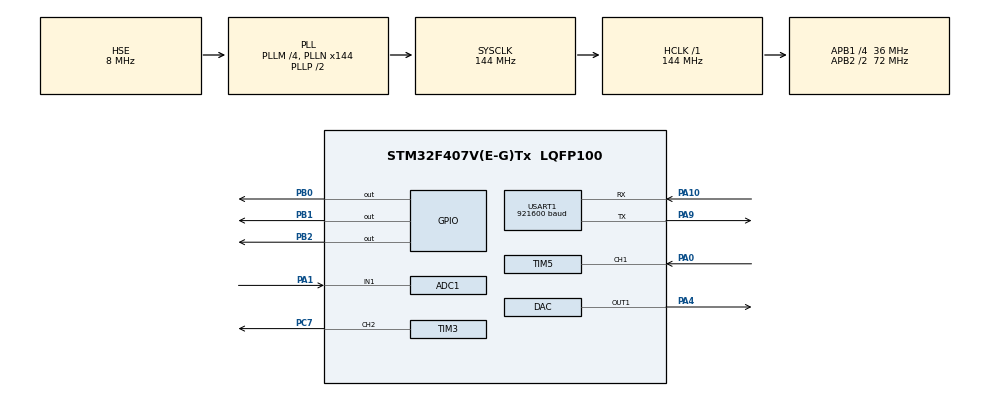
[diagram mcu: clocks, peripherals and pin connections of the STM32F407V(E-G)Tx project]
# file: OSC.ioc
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ADC1.Channel-0\#ChannelRegularConversion=ADC_CHANNEL_1
ADC1.ClockPrescaler=ADC_CLOCK_SYNC_PCLK_DIV2
ADC1.ContinuousConvMode=DISABLE
ADC1.DMAContinuousRequests=ENABLE
ADC1.EOCSelection=ADC_EOC_SINGLE_CONV
ADC1.ExternalTrigConv=ADC_EXTERNALTRIGCONV_T8_TRGO
ADC1.Mode=__NULL
ADC1.NbrOfConversion=1
ADC1.NbrOfConversionFlag=1
ADC1.Rank-0\#ChannelRegularConversion=1
ADC1.Resolution=ADC_RESOLUTION_12B
ADC1.SamplingTime-0\#ChannelRegularConversion=ADC_SAMPLETIME_3CYCLES
ADC1.ScanConvMode=DISABLE
ADC1.master=1
ADC2.Channel-3\#ChannelRegularConversion=ADC_CHANNEL_1
ADC2.EOCSelection=ADC_EOC_SINGLE_CONV
ADC2.NbrOfConversionFlag=1
ADC2.Rank-3\#ChannelRegularConversion=1
ADC2.Resolution=ADC_RESOLUTION_12B
ADC2.SamplingTime-3\#ChannelRegularConversion=ADC_SAMPLETIME_3CYCLES
ADC3.Channel-2\#ChannelRegularConversion=ADC_CHANNEL_1
ADC3.DMAAccessMode=ADC_DMAACCESSMODE_2
ADC3.EOCSelection=ADC_EOC_SINGLE_CONV
ADC3.NbrOfConversionFlag=1
ADC3.Rank-2\#ChannelRegularConversion=1
ADC3.Resolution=ADC_RESOLUTION_12B
ADC3.SamplingTime-2\#ChannelRegularConversion=ADC_SAMPLETIME_3CYCLES
DAC.DAC_Trigger=DAC_TRIGGER_T2_TRGO
Dma.ADC1.0.Direction=DMA_PERIPH_TO_MEMORY
Dma.ADC1.0.FIFOMode=DMA_FIFOMODE_DISABLE
Dma.ADC1.0.Instance=DMA2_Stream0
Dma.ADC1.0.MemDataAlignment=DMA_MDATAALIGN_WORD
Dma.ADC1.0.MemInc=DMA_MINC_ENABLE
Dma.ADC1.0.Mode=DMA_NORMAL
Dma.ADC1.0.PeriphDataAlignment=DMA_PDATAALIGN_WORD
Dma.ADC1.0.PeriphInc=DMA_PINC_DISABLE
Dma.ADC1.0.Priority=DMA_PRIORITY_LOW
Dma.DAC1.2.Direction=DMA_MEMORY_TO_PERIPH
Dma.DAC1.2.FIFOMode=DMA_FIFOMODE_DISABLE
Dma.DAC1.2.Instance=DMA1_Stream5
Dma.DAC1.2.MemDataAlignment=DMA_MDATAALIGN_HALFWORD
Dma.DAC1.2.MemInc=DMA_MINC_ENABLE
Dma.DAC1.2.Mode=DMA_CIRCULAR
Dma.DAC1.2.PeriphDataAlignment=DMA_PDATAALIGN_HALFWORD
Dma.DAC1.2.PeriphInc=DMA_PINC_DISABLE
Dma.DAC1.2.Priority=DMA_PRIORITY_MEDIUM
Dma.Request0=ADC1
Dma.Request1=USART1_RX
Dma.Request2=DAC1
Dma.USART1_RX.1.Direction=DMA_PERIPH_TO_MEMORY
Dma.USART1_RX.1.FIFOMode=DMA_FIFOMODE_DISABLE
Dma.USART1_RX.1.Instance=DMA2_Stream2
Dma.USART1_RX.1.MemDataAlignment=DMA_MDATAALIGN_BYTE
Dma.USART1_RX.1.MemInc=DMA_MINC_ENABLE
Dma.USART1_RX.1.Mode=DMA_NORMAL
Dma.USART1_RX.1.PeriphDataAlignment=DMA_PDATAALIGN_BYTE
Dma.USART1_RX.1.PeriphInc=DMA_PINC_DISABLE
Dma.USART1_RX.1.Priority=DMA_PRIORITY_LOW
Mcu.Family=STM32F4
Mcu.Name=STM32F407V(E-G)Tx
Mcu.Package=LQFP100
NVIC.DMA1_Stream5_IRQn=true\:0\:0\:false\:false\:true\:false\:true\:true
NVIC.DMA2_Stream0_IRQn=true\:0\:0\:false\:false\:true\:false\:true\:true
NVIC.DMA2_Stream2_IRQn=true\:0\:0\:false\:false\:true\:false\:true\:true
NVIC.PriorityGroup=NVIC_PRIORITYGROUP_4
NVIC.TIM5_IRQn=true\:0\:0\:false\:false\:true\:true\:true\:true
NVIC.USART1_IRQn=true\:0\:0\:false\:false\:true\:true\:true\:true
PA0-WKUP.Signal=S_TIM5_CH1
PA1.Signal=ADCx_IN1
PA10.Mode=Asynchronous
PA10.Signal=USART1_RX
PA13.Mode=Serial_Wire
PA13.Signal=SYS_JTMS-SWDIO
PA14.Mode=Serial_Wire
PA14.Signal=SYS_JTCK-SWCLK
PA4.Signal=COMP_DAC1_group
PA9.Mode=Asynchronous
PA9.Signal=USART1_TX
PB0.GPIO_PuPd=GPIO_PULLUP
PB0.Signal=GPIO_Output
PB1.GPIO_PuPd=GPIO_PULLUP
PB1.PinState=GPIO_PIN_RESET
PB1.Signal=GPIO_Output
PB2.GPIO_PuPd=GPIO_PULLUP
PB2.Signal=GPIO_Output
PC7.Signal=S_TIM3_CH2
PH0-OSC_IN.Mode=HSE-External-Oscillator
PH0-OSC_IN.Signal=RCC_OSC_IN
PH1-OSC_OUT.Mode=HSE-External-Oscillator
PH1-OSC_OUT.Signal=RCC_OSC_OUT
ProjectManager.HeapSize=0x1000
ProjectManager.StackSize=0x2000
ProjectManager.TargetToolchain=MDK-ARM V5.32
RCC.48MHZClocksFreq_Value=72000000
RCC.AHBFreq_Value=144000000
RCC.APB1CLKDivider=RCC_HCLK_DIV4
RCC.APB1Freq_Value=36000000
RCC.APB1TimFreq_Value=72000000
RCC.APB2CLKDivider=RCC_HCLK_DIV2
RCC.APB2Freq_Value=72000000
RCC.APB2TimFreq_Value=144000000
RCC.CortexFreq_Value=144000000
RCC.HCLKFreq_Value=144000000
RCC.HSE_VALUE=8000000
RCC.HSI_VALUE=16000000
RCC.LSE_VALUE=32768
RCC.PLLM=4
RCC.PLLN=144
RCC.PLLSourceVirtual=RCC_PLLSOURCE_HSE
RCC.SYSCLKFreq_VALUE=144000000
RCC.SYSCLKSource=RCC_SYSCLKSOURCE_PLLCLK
RCC.VCOOutputFreq_Value=288000000
SH.ADCx_IN1.0=ADC1_IN1,IN1
SH.ADCx_IN1.1=ADC2_IN1,IN1
SH.ADCx_IN1.2=ADC3_IN1,IN1
SH.COMP_DAC1_group.0=DAC_OUT1,DAC_OUT1
SH.S_TIM3_CH2.0=TIM3_CH2,PWM Generation2 CH2
SH.S_TIM5_CH1.0=TIM5_CH1,Input_Capture1_from_TI1
SH.S_TIM5_CH1.1=TIM5_CH1,TriggerSource_TI1FP1
STMicroelectronics.X-CUBE-ALGOBUILD.1.4.0.LibraryCcDSPOoLibraryJjDSPOoLibrary=true
TIM2.AutoReloadPreload=TIM_AUTORELOAD_PRELOAD_ENABLE
TIM2.Period=100-1
TIM2.Prescaler=1-1
TIM2.TIM_MasterOutputTrigger=TIM_TRGO_UPDATE
TIM3.AutoReloadPreload=TIM_AUTORELOAD_PRELOAD_ENABLE
TIM3.Channel-PWM\ Generation2\ CH2=TIM_CHANNEL_2
TIM3.Period=100-1
TIM3.Prescaler=72-1
TIM3.Pulse-PWM\ Generation2\ CH2=50
TIM5.Channel-Input_Capture1_from_TI1=TIM_CHANNEL_1
TIM5.Channel-Input_Capture2_from_TI1_63=TIM_CHANNEL_2
TIM5.ICPolarity_CH2=TIM_INPUTCHANNELPOLARITY_FALLING
TIM5.Prescaler=36-1
TIM8.AutoReloadPreload=TIM_AUTORELOAD_PRELOAD_ENABLE
TIM8.Period=10-1
TIM8.Prescaler=72-1
TIM8.TIM_MasterOutputTrigger=TIM_TRGO_UPDATE
USART1.BaudRate=921600
USART1.VirtualMode=VM_ASYNC
VP_STMicroelectronics.X-CUBE-ALGOBUILD_VS_DSPOoLibraryJjLibrary_1.4.0_1.4.0.Mode=DSPOoLibraryJjLibrary
VP_TIM2_VS_ClockSourceINT.Mode=Internal
VP_TIM5_VS_ClockSourceINT.Mode=Internal
VP_TIM5_VS_ControllerModeReset.Mode=Reset Mode
VP_TIM5_VS_indirect_ch1.Mode=Input_Capture2_from_TI1_63
VP_TIM8_VS_ClockSourceINT.Mode=Internal
board=custom

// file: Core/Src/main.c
/* USER CODE BEGIN Header */
/**
 ******************************************************************************
 * @file           : main.c
 * @brief          : Main program body
 ******************************************************************************
 * @attention
 *
 * Copyright (c) 2025 STMicroelectronics.
 * All rights reserved.
 *
 * This software is licensed under terms that can be found in the LICENSE file
 * in the root directory of this software component.
 * If no LICENSE file comes with this software, it is provided AS-IS.
 *
 ******************************************************************************
 */
/* USER CODE END Header */
#include "main.h"
#include "adc.h"
#include "dac.h"
#include "dma.h"
#include "tim.h"
#include "usart.h"
#include "gpio.h"

/* USER CODE BEGIN Includes */
#include <stdio.h>

#include "ADC_DMA.h"
#include "message_UART.h"
#include "HMI.h"
#include "OSC_Trigger.h"
#include "Config.h"
#include "Fre_Measure.h"
#include "FFT.h"
#include "DAC_DMA.h"

/* USER CODE END Includes */

/* USER CODE BEGIN PV */
uint32_t *adc_value_buffer_u32;
uint32_t adc_value_u32[ADC_NUMBER];
static uint32_t adc_value_u32_HasFilter[ADC_NUMBER];
static uint32_t adc_value_u32_HasScale[ADC_NUMBER];

/* USER CODE END PV */

void SystemClock_Config(void);
/* USER CODE BEGIN PFP */
int fputc(int ch, FILE *f)
{
  HAL_UART_Transmit(&huart1, (uint8_t *)&ch, 1, 1000);
  return ch;
}

/* USER CODE END PFP */

int main(void)
{

  /* MCU Configuration--------------------------------------------------------*/

  /* Reset of all peripherals, Initializes the Flash interface and the Systick. */
  HAL_Init();

  /* Configure the system clock */
  SystemClock_Config();

  /* Initialize all configured peripherals */
  MX_GPIO_Init();
  MX_DMA_Init();
  MX_ADC1_Init();
  MX_TIM2_Init();
  MX_USART1_UART_Init();
  MX_TIM3_Init();
  MX_ADC2_Init();
  MX_ADC3_Init();
  MX_TIM5_Init();
  MX_DAC_Init();
  MX_TIM8_Init();
  /* USER CODE BEGIN 2 */
  uint8_t RxBuffer[16];             // 定义接收缓冲区
  uint16_t count_1 = 0;             // 用于计数
  message_init();                   // 初始化串口
  Fre_Measure_Init();               // 初始化频率测量
  ConfigAndData_Init();             // 初始化配置和数据
  ADC_DMA_Start(OSC_Config.OSC_Fs); // 启动ADC
  ADC_Change_Fs();                  // 改变ADC采样频率
  FFT_Init();                       // 初始化FFT
  DAC_DMA_Init();                   // 初始化DAC

  /* USER CODE END 2 */

  /* Infinite loop */
  /* USER CODE BEGIN WHILE */
  while (1)
  {
    if (message_Read(RxBuffer, 16, 1)) // 读取串口数据
    {
      if (HMI_ReceiveHandle(RxBuffer, 16) == 0) // 处理串口数据
      {
      }
    }
    if (OSC_Config.OSC_Enable) // 判断示波器是否使能
    {
      if (count_1 >= 100) // 判断定时
      {
        count_1 = 0;
        if (OSC_Config.OSC_FFT_Enable == 0) // 判断是否开启FFT
        {
          HMI_SeedFrame_MeasureData();
        }
        if ((adc_value_buffer_u32 = ADC_ReadData_u32()) != NULL) // 判断ADC是否有数据
        {
          if (OSC_Config.OSC_Fs == 7200000)
          {
            ADC_MultiModeBufferConvert(adc_value_buffer_u32, adc_value_u32, ADC_BUFFER_MultiMode_SIZE);    // 交替采样数据的转换
            Filter_IIR(adc_value_u32, adc_value_u32_HasFilter, 0.8);                                       // 滤波
            ADC_DataHandle(adc_value_u32_HasFilter, 20, 730);                                              // 数据处理，获得Vpp等
            Fre_Measure_Get_Fre(&OSC_MeasureData.Freq_TIM, &OSC_MeasureData.Duty);                         // 测量频率
            Scale_X_Axis(adc_value_u32_HasFilter, adc_value_u32_HasScale, (float)OSC_Config.Scale_X_Axis); // 缩放
          }
          else
          {
            Filter_IIR(adc_value_buffer_u32, adc_value_u32_HasFilter, 0.4);                             // 滤波
            ADC_DataHandle(adc_value_u32_HasFilter, 20, 730);                                           // 数据处理，获得Vpp等
            Fre_Measure_Get_Fre(&OSC_MeasureData.Freq_TIM, &OSC_MeasureData.Duty);                      // 测量频率
            Scale_X_Axis(adc_value_buffer_u32, adc_value_u32_HasScale, (float)OSC_Config.Scale_X_Axis); // 缩放
          }
          if (OSC_Config.OSC_Auto_Enable == 1) // 判断是否开启自动测量，
          {
            Auto_Measure(); // 自动测量
          }
          else if (OSC_Config.OSC_FFT_Enable == 1) // 判断是否开启FFT，如果开启FFT，则发送FFT数据，否则发送波形数据
          {
            FFT_App(&OSC_MeasureData.Freq_FFT); // 进行FFT
            HMI_SeedFrame_FFT(output, 512);     // 发送FFT数据
          }
          else
          {
            HMI_SeedFrame_Wave(adc_value_u32_HasScale, 800, 1024, 0);
          }
        }
        ADC_Restart(OSC_Config.OSC_Fs); // 重新启动ADC
      }
    }
    if (DAC_Param.HaveChange_Flag == 1) // 判断DAC有无修改参数
    {
      DAC_Param.HaveChange_Flag = 0;
      if (OSC_Config.OSC_DAC_Enable == 1) // 判断DAC是否使能
      {
        DAC_DMA_ChangeOut(DAC_Param.type, DAC_Param.Freq, DAC_Param.VPP, DAC_Param.offset, DAC_Param.Duty); // 修改DAC参数
        DAC_DMA_Start();                                                                                    // 启动DAC
      }
      else
      {
        DAC_DMA_Stop(); // 停止DAC
      }
    }
    HAL_Delay(1);
    count_1++; // 计数值加1

    /* USER CODE END WHILE */

  }
}

void SystemClock_Config(void)
{
  RCC_OscInitTypeDef RCC_OscInitStruct = {0};
  RCC_ClkInitTypeDef RCC_ClkInitStruct = {0};

  /** Configure the main internal regulator output voltage
  */
  __HAL_RCC_PWR_CLK_ENABLE();
  __HAL_PWR_VOLTAGESCALING_CONFIG(PWR_REGULATOR_VOLTAGE_SCALE1);

  /** Initializes the RCC Oscillators according to the specified parameters
  * in the RCC_OscInitTypeDef structure.
  */
  RCC_OscInitStruct.OscillatorType = RCC_OSCILLATORTYPE_HSE;
  RCC_OscInitStruct.HSEState = RCC_HSE_ON;
  RCC_OscInitStruct.PLL.PLLState = RCC_PLL_ON;
  RCC_OscInitStruct.PLL.PLLSource = RCC_PLLSOURCE_HSE;
  RCC_OscInitStruct.PLL.PLLM = 4;
  RCC_OscInitStruct.PLL.PLLN = 144;
  RCC_OscInitStruct.PLL.PLLP = RCC_PLLP_DIV2;
  RCC_OscInitStruct.PLL.PLLQ = 4;
  if (HAL_RCC_OscConfig(&RCC_OscInitStruct) != HAL_OK)
  {
    Error_Handler();
  }

  /** Initializes the CPU, AHB and APB buses clocks
  */
  RCC_ClkInitStruct.ClockType = RCC_CLOCKTYPE_HCLK|RCC_CLOCKTYPE_SYSCLK
                              |RCC_CLOCKTYPE_PCLK1|RCC_CLOCKTYPE_PCLK2;
  RCC_ClkInitStruct.SYSCLKSource = RCC_SYSCLKSOURCE_PLLCLK;
  RCC_ClkInitStruct.AHBCLKDivider = RCC_SYSCLK_DIV1;
  RCC_ClkInitStruct.APB1CLKDivider = RCC_HCLK_DIV4;
  RCC_ClkInitStruct.APB2CLKDivider = RCC_HCLK_DIV2;

  if (HAL_RCC_ClockConfig(&RCC_ClkInitStruct, FLASH_LATENCY_4) != HAL_OK)
  {
    Error_Handler();
  }
}

void Error_Handler(void)
{
  __disable_irq();
  while (1)
  {
  }
}
